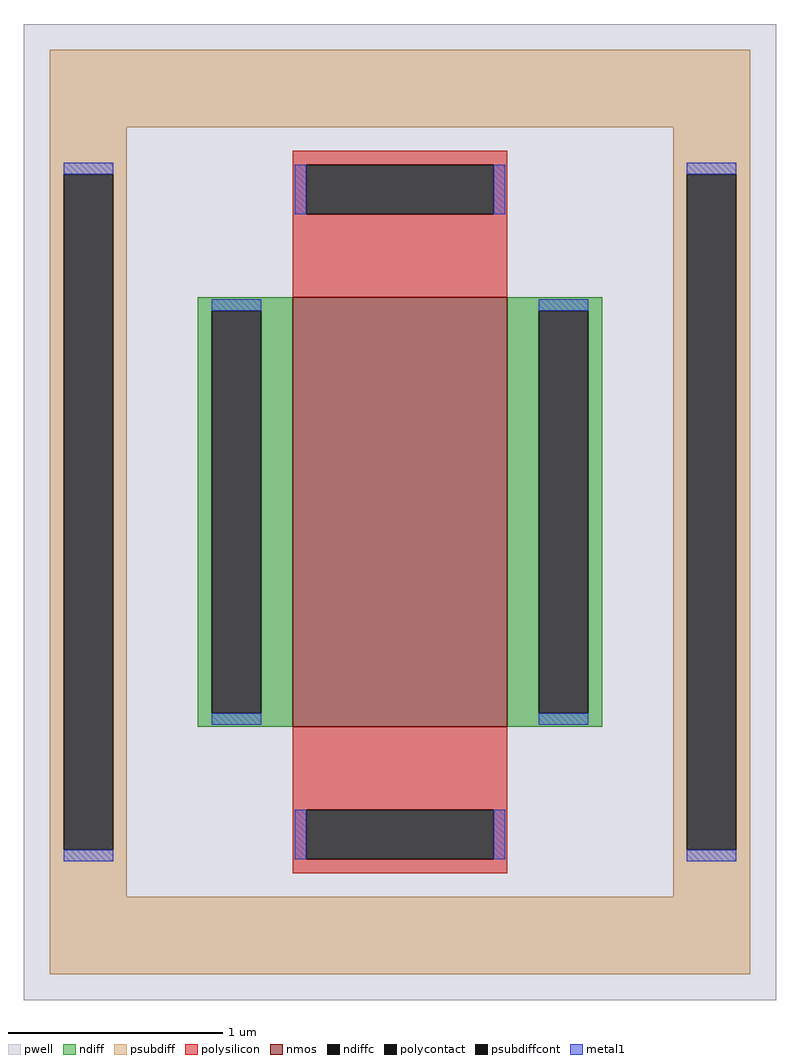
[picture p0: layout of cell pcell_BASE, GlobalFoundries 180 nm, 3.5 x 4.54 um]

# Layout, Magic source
magic
tech gf180mcuD
magscale 1 10
<< pwell >>
rect -350 -454 350 454
<< nmos >>
rect -100 -200 100 200
<< ndiff >>
rect -188 187 -100 200
rect -188 -187 -175 187
rect -129 -187 -100 187
rect -188 -200 -100 -187
rect 100 187 188 200
rect 100 -187 129 187
rect 175 -187 188 187
rect 100 -200 188 -187
<< ndiffc >>
rect -175 -187 -129 187
rect 129 -187 175 187
<< psubdiff >>
rect -326 358 326 430
rect -326 314 -254 358
rect -326 -314 -313 314
rect -267 -314 -254 314
rect 254 314 326 358
rect -326 -358 -254 -314
rect 254 -314 267 314
rect 313 -314 326 314
rect 254 -358 326 -314
rect -326 -430 326 -358
<< psubdiffcont >>
rect -313 -314 -267 314
rect 267 -314 313 314
<< polysilicon >>
rect -100 323 100 336
rect -100 277 -87 323
rect 87 277 100 323
rect -100 200 100 277
rect -100 -277 100 -200
rect -100 -323 -87 -277
rect 87 -323 100 -277
rect -100 -336 100 -323
<< polycontact >>
rect -87 277 87 323
rect -87 -323 87 -277
<< metal1 >>
rect -313 314 -267 325
rect -98 277 -87 323
rect 87 277 98 323
rect 267 314 313 325
rect -175 187 -129 198
rect -175 -198 -129 -187
rect 129 187 175 198
rect 129 -198 175 -187
rect -313 -325 -267 -314
rect -98 -323 -87 -277
rect 87 -323 98 -277
rect 267 -325 313 -314
<< properties >>
string FIXED_BBOX -2900 -3940 2900 3940
<< end >>
